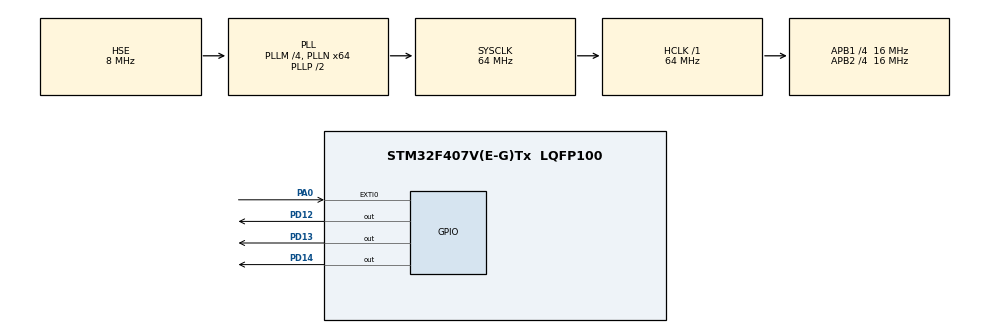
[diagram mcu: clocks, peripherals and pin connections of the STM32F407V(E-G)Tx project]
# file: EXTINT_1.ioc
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FREERTOS.BinarySemaphores01=myBinarySem01,Dynamic,NULL
FREERTOS.CountingSemaphores01=myCountingSem01,2,Dynamic,NULL
FREERTOS.Tasks01=defaultTask,24,128,StartDefaultTask,Default,NULL,Dynamic,NULL,NULL;myTask02,8,128,StartTask02,Default,NULL,Dynamic,NULL,NULL
FREERTOS.Timers01=myTimer01,Callback01,osTimerPeriodic,Default,NULL,Dynamic,NULL
Mcu.Family=STM32F4
Mcu.Name=STM32F407V(E-G)Tx
Mcu.Package=LQFP100
NVIC.PriorityGroup=NVIC_PRIORITYGROUP_4
NVIC.TIM1_UP_TIM10_IRQn=true\:0\:0\:false\:false\:true\:false\:false\:true
NVIC.TIM6_DAC_IRQn=true\:5\:0\:false\:false\:true\:true\:true\:true
NVIC.TimeBase=TIM1_UP_TIM10_IRQn
NVIC.TimeBaseIP=TIM1
PA0-WKUP.Signal=GPXTI0
PA13.Mode=Serial_Wire
PA13.Signal=SYS_JTMS-SWDIO
PA14.Mode=Serial_Wire
PA14.Signal=SYS_JTCK-SWCLK
PD12.Signal=GPIO_Output
PD13.Signal=GPIO_Output
PD14.Signal=GPIO_Output
PH0-OSC_IN.Mode=HSE-External-Oscillator
PH0-OSC_IN.Signal=RCC_OSC_IN
PH1-OSC_OUT.Mode=HSE-External-Oscillator
PH1-OSC_OUT.Signal=RCC_OSC_OUT
ProjectManager.HeapSize=0x200
ProjectManager.StackSize=0x400
ProjectManager.TargetToolchain=TrueSTUDIO
RCC.48MHZClocksFreq_Value=18285714.285714287
RCC.AHBFreq_Value=64000000
RCC.APB1CLKDivider=RCC_HCLK_DIV4
RCC.APB1Freq_Value=16000000
RCC.APB1TimFreq_Value=32000000
RCC.APB2CLKDivider=RCC_HCLK_DIV4
RCC.APB2Freq_Value=16000000
RCC.APB2TimFreq_Value=32000000
RCC.CortexFreq_Value=64000000
RCC.HCLKFreq_Value=64000000
RCC.HSE_VALUE=8000000
RCC.HSI_VALUE=16000000
RCC.LSE_VALUE=32768
RCC.PLLM=4
RCC.PLLN=64
RCC.PLLQ=7
RCC.PLLSourceVirtual=RCC_PLLSOURCE_HSE
RCC.SYSCLKFreq_VALUE=64000000
RCC.SYSCLKSource=RCC_SYSCLKSOURCE_PLLCLK
RCC.VCOOutputFreq_Value=128000000
TIM6.AutoReloadPreload=TIM_AUTORELOAD_PRELOAD_ENABLE
TIM6.Prescaler=16
VP_FREERTOS_VS_CMSIS_V2.Mode=CMSIS_V2
VP_SYS_VS_tim1.Mode=TIM1
VP_TIM6_VS_ClockSourceINT.Mode=Enable_Timer
board=STM32F407G-DISC1

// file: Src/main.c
/* USER CODE BEGIN Header */
/**
  ******************************************************************************
  * @file           : main.c
  * @brief          : Main program body
  ******************************************************************************
  * @attention
  *
  * <h2><center>&copy; Copyright (c) 2020 STMicroelectronics.
  * All rights reserved.</center></h2>
  *
  * This software component is licensed by ST under Ultimate Liberty license
  * SLA0044, the "License"; You may not use this file except in compliance with
  * the License. You may obtain a copy of the License at:
  *                             www.st.com/SLA0044
  *
  ******************************************************************************
  */
/* USER CODE END Header */

#include "main.h"
#include "cmsis_os.h"
#include "stm32f4xx_hal.h"
#include <string.h>
#include <stdio.h>
#include "task.h"

/* USER CODE BEGIN PM */
TickType_t xTicksToWait;
TimeOut_t xTimeOut;
/* USER CODE END PM */

TIM_HandleTypeDef htim6;

/* Definitions for defaultTask */
osThreadId_t defaultTaskHandle;
const osThreadAttr_t defaultTask_attributes = {
  .name = "defaultTask",
  .priority = (osPriority_t) osPriorityNormal,
  .stack_size = 128
};
/* Definitions for myTask02 */
osThreadId_t myTask02Handle;
const osThreadAttr_t myTask02_attributes = {
  .name = "myTask02",
  .priority = (osPriority_t) osPriorityLow,
  .stack_size = 128
};
/* Definitions for myTimer01 */
osTimerId_t myTimer01Handle;
const osTimerAttr_t myTimer01_attributes = {
  .name = "myTimer01"
};
/* Definitions for myBinarySem01 */
osSemaphoreId_t myBinarySem01Handle;
const osSemaphoreAttr_t myBinarySem01_attributes = {
  .name = "myBinarySem01"
};
/* Definitions for myCountingSem01 */
osSemaphoreId_t myCountingSem01Handle;
const osSemaphoreAttr_t myCountingSem01_attributes = {
  .name = "myCountingSem01"
};

void SystemClock_Config(void);
static void MX_GPIO_Init(void);
static void MX_TIM6_Init(void);
void StartDefaultTask(void *argument);
void StartTask02(void *argument);
void Callback01(void *argument);

/* USER CODE BEGIN 0 */
uint8_t counter;
uint8_t speed;
/* USER CODE END 0 */

int main(void)
{

  /* MCU Configuration--------------------------------------------------------*/

  /* Reset of all peripherals, Initializes the Flash interface and the Systick. */
  HAL_Init();

  /* Configure the system clock */
  SystemClock_Config();

  /* Initialize all configured peripherals */
  MX_GPIO_Init();
  MX_TIM6_Init();
  /* Init scheduler */
  osKernelInitialize();

  /* Create the semaphores(s) */
  /* creation of myBinarySem01 */
  myBinarySem01Handle = osSemaphoreNew(1, 1, &myBinarySem01_attributes);

  /* creation of myCountingSem01 */
  myCountingSem01Handle = osSemaphoreNew(2, 2, &myCountingSem01_attributes);

  /* Create the timer(s) */
  /* creation of myTimer01 */
  myTimer01Handle = osTimerNew(Callback01, osTimerPeriodic, NULL, &myTimer01_attributes);

  /* Create the thread(s) */
  /* creation of defaultTask */
  defaultTaskHandle = osThreadNew(StartDefaultTask, NULL, &defaultTask_attributes);

  /* creation of myTask02 */
  myTask02Handle = osThreadNew(StartTask02, NULL, &myTask02_attributes);

  /* Start scheduler */
  osKernelStart();

  /* We should never get here as control is now taken by the scheduler */

  /* Infinite loop */
  while (1)
  {

  }
}

void SystemClock_Config(void)
{
  RCC_OscInitTypeDef RCC_OscInitStruct = {0};
  RCC_ClkInitTypeDef RCC_ClkInitStruct = {0};

  /** Configure the main internal regulator output voltage
  */
  __HAL_RCC_PWR_CLK_ENABLE();
  __HAL_PWR_VOLTAGESCALING_CONFIG(PWR_REGULATOR_VOLTAGE_SCALE1);
  /** Initializes the CPU, AHB and APB busses clocks
  */
  RCC_OscInitStruct.OscillatorType = RCC_OSCILLATORTYPE_HSE;
  RCC_OscInitStruct.HSEState = RCC_HSE_ON;
  RCC_OscInitStruct.PLL.PLLState = RCC_PLL_ON;
  RCC_OscInitStruct.PLL.PLLSource = RCC_PLLSOURCE_HSE;
  RCC_OscInitStruct.PLL.PLLM = 4;
  RCC_OscInitStruct.PLL.PLLN = 64;
  RCC_OscInitStruct.PLL.PLLP = RCC_PLLP_DIV2;
  RCC_OscInitStruct.PLL.PLLQ = 7;
  if (HAL_RCC_OscConfig(&RCC_OscInitStruct) != HAL_OK)
  {
    Error_Handler();
  }
  /** Initializes the CPU, AHB and APB busses clocks
  */
  RCC_ClkInitStruct.ClockType = RCC_CLOCKTYPE_HCLK|RCC_CLOCKTYPE_SYSCLK
                              |RCC_CLOCKTYPE_PCLK1|RCC_CLOCKTYPE_PCLK2;
  RCC_ClkInitStruct.SYSCLKSource = RCC_SYSCLKSOURCE_PLLCLK;
  RCC_ClkInitStruct.AHBCLKDivider = RCC_SYSCLK_DIV1;
  RCC_ClkInitStruct.APB1CLKDivider = RCC_HCLK_DIV4;
  RCC_ClkInitStruct.APB2CLKDivider = RCC_HCLK_DIV4;

  if (HAL_RCC_ClockConfig(&RCC_ClkInitStruct, FLASH_LATENCY_2) != HAL_OK)
  {
    Error_Handler();
  }
}

static void MX_TIM6_Init(void)
{

  TIM_MasterConfigTypeDef sMasterConfig = {0};

  htim6.Instance = TIM6;
  htim6.Init.Prescaler = 16;
  htim6.Init.CounterMode = TIM_COUNTERMODE_UP;
  htim6.Init.Period = 0;
  htim6.Init.AutoReloadPreload = TIM_AUTORELOAD_PRELOAD_ENABLE;
  if (HAL_TIM_Base_Init(&htim6) != HAL_OK)
  {
    Error_Handler();
  }
  sMasterConfig.MasterOutputTrigger = TIM_TRGO_RESET;
  sMasterConfig.MasterSlaveMode = TIM_MASTERSLAVEMODE_DISABLE;
  if (HAL_TIMEx_MasterConfigSynchronization(&htim6, &sMasterConfig) != HAL_OK)
  {
    Error_Handler();
  }

}

static void MX_GPIO_Init(void)
{
  GPIO_InitTypeDef GPIO_InitStruct = {0};

  /* GPIO Ports Clock Enable */
  __HAL_RCC_GPIOH_CLK_ENABLE();
  __HAL_RCC_GPIOA_CLK_ENABLE();
  __HAL_RCC_GPIOD_CLK_ENABLE();

  /*Configure GPIO pin Output Level */
  HAL_GPIO_WritePin(GPIOD, GPIO_PIN_12|GPIO_PIN_13|GPIO_PIN_14, GPIO_PIN_RESET);

  /*Configure GPIO pin : PA0 */
  GPIO_InitStruct.Pin = GPIO_PIN_0;
  GPIO_InitStruct.Mode = GPIO_MODE_IT_RISING;
  GPIO_InitStruct.Pull = GPIO_NOPULL;
  HAL_GPIO_Init(GPIOA, &GPIO_InitStruct);

  /*Configure GPIO pins : PD12 PD13 PD14 */
  GPIO_InitStruct.Pin = GPIO_PIN_12|GPIO_PIN_13|GPIO_PIN_14;
  GPIO_InitStruct.Mode = GPIO_MODE_OUTPUT_PP;
  GPIO_InitStruct.Pull = GPIO_NOPULL;
  GPIO_InitStruct.Speed = GPIO_SPEED_FREQ_LOW;
  HAL_GPIO_Init(GPIOD, &GPIO_InitStruct);

}

void StartDefaultTask(void *argument)
{
  for(;;)
  {
    osDelay(1);
  }
}

void StartTask02(void *argument)
{
  /* USER CODE BEGIN StartTask02 */
	  TickType_t xLastWakeTime;
	  	xLastWakeTime = xTaskGetTickCount();

	  	vTaskSetTimeOutState( &xTimeOut );

	  	const TickType_t xPeriod = pdMS_TO_TICKS(  );
	  	const TickType_t xTicksToWait=pdMS_TO_TICKS(3000 );
	    /* Infinite loop */
  /* Infinite loop */
  for(;;)
  {
/*
	  if((HAL_GPIO_ReadPin(GPIOA,GPIO_PIN_0)) ==1){
		  while(!((HAL_GPIO_ReadPin(GPIOA,GPIO_PIN_0))==0));
		counter=counter+1;
		speed=counter;
	  }

	  else{
		  if( (HAL_GPIO_ReadPin(GPIOA,GPIO_PIN_0) ==1)||(counter!=counter+1) );

	  }
	  }

    osDelay(1);*/

	  	 while(!(HAL_GPIO_ReadPin(GPIOB,GPIO_PIN_1)) ==1){
	  	 if( xTaskCheckForTimeOut( &xTimeOut, &xTicksToWait ) != pdFALSE )
	  	  {
	  	  /* Timed out before the wanted number of bytes were available, exit the loop. */

	  	 break;
	  	  }
	  	 }

	  	 if((HAL_GPIO_ReadPin(GPIOB,GPIO_PIN_1)) !=1){
	  	 HAL_GPIO_WritePin(GPIOD,GPIO_PIN_12,GPIO_PIN_SET);
	  	 }
	  	// HAL_UART_Transmit(&huart2,"Vehicle stopped\r\n",20,HAL_MAX_DELAY);

	  	 	 //while(!((HAL_GPIO_ReadPin(GPIOB,GPIO_PIN_1)) ==1)||((HAL_GPIO_ReadPin(GPIOB,GPIO_PIN_1)) ==0));

	  	    //TxData[4]= counter;
	  	    vTaskDelayUntil( &xLastWakeTime, xPeriod );

	    }
	  	  	//taskYIELD();
	  	  	//vTaskDelay(20);

  }
  /* USER CODE END StartTask02 */
//}

/* Callback01 function */
void Callback01(void *argument)
{
}

void HAL_TIM_PeriodElapsedCallback(TIM_HandleTypeDef *htim)
{
  if (htim->Instance == TIM1) {
    HAL_IncTick();
  }
}

void Error_Handler(void)
{
}

/************************ (C) COPYRIGHT STMicroelectronics *****END OF FILE****/
